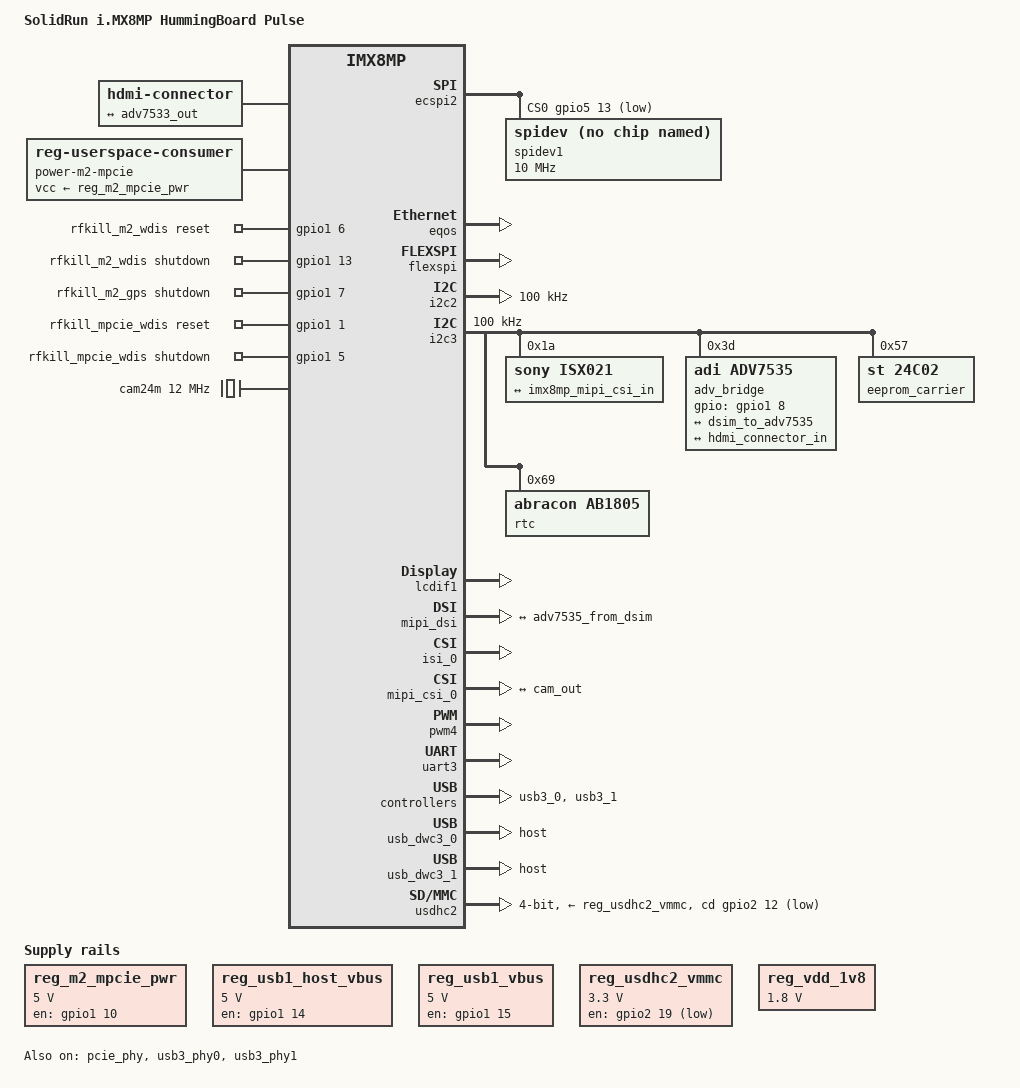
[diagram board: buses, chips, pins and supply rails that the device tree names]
// SPDX-License-Identifier: (GPL-2.0+ OR MIT)
/*
 * Copyright 2019 NXP
 */

/dts-v1/;

#include <dt-bindings/usb/pd.h>
#include "imx8mp-sr-som.dtsi"

/ {
	model = "SolidRun i.MX8MP HummingBoard Pulse";
	compatible = "fsl,imx8mp-sr-som", "fsl,imx8mp";

	reserved-memory {
		#address-cells = <2>;
		#size-cells = <2>;
		ranges;

		linux,cma {
			compatible = "shared-dma-pool";
			reusable;
			size = <0 0x3c00000>;
			linux,cma-default;
		};
	};

	leds {
		compatible = "gpio-leds";
		pinctrl-names = "default";
		pinctrl-0 = <&pinctrl_gpio_led>;

		/*status {
			label = "status";
			gpios = <&gpio4 22 0>;
			default-state = "on";
		};*/
	};

	hdmi-connector {
		compatible = "hdmi-connector";
		label = "hdmi";
		type = "a";

		port {
			hdmi_connector_in: endpoint {
				remote-endpoint = <&adv7533_out>;
			};
		};
	};

	power-m2-mpcie {
			compatible = "reg-userspace-consumer";
			regulator-name = "m2-mpcie-pwr-consumer";
			regulator-boot-on;
			regulator-supplies = "vcc";
			vcc-supply = <&reg_m2_mpcie_pwr>;
			comment = "m.2 and mpcie 3.3V connector switch";
	};

	reg_m2_mpcie_pwr: regulator-m2-mpcie-pwr {
		compatible = "regulator-fixed";
		regulator-name = "m2-mpcie-pwr";
		pinctrl-names = "default";
		pinctrl-0 = <&pinctrl_m2_pwr>;
		regulator-min-microvolt = <5000000>;
		regulator-max-microvolt = <5000000>;
		gpio = <&gpio1 10 GPIO_ACTIVE_HIGH>;
		enable-active-high;
	};

	reg_usb1_host_vbus: regulator-usb1-host-vbus {
		compatible = "regulator-fixed";
		regulator-name = "usb1_host_vbus";
		pinctrl-names = "default";
		pinctrl-0 = <&pinctrl_usb1_host_vbus>;
		regulator-min-microvolt = <5000000>;
		regulator-max-microvolt = <5000000>;
		gpio = <&gpio1 14 GPIO_ACTIVE_HIGH>;
		enable-active-high;
		regulator-always-on;
	};

	reg_usb1_vbus: regulator-usb1-vbus {
		compatible = "regulator-fixed";
		regulator-name = "usb1_vbus";
		pinctrl-names = "default";
		pinctrl-0 = <&pinctrl_usb1_vbus>;
		regulator-min-microvolt = <5000000>;
		regulator-max-microvolt = <5000000>;
		gpio = <&gpio1 15 GPIO_ACTIVE_HIGH>;
		enable-active-high;
		regulator-always-on;
	};

	reg_usdhc2_vmmc: regulator-usdhc2 {
		compatible = "regulator-fixed";
		pinctrl-names = "default";
		pinctrl-0 = <&pinctrl_reg_usdhc2_vmmc>;
		regulator-name = "VSD_3V3";
		regulator-min-microvolt = <3300000>;
		regulator-max-microvolt = <3300000>;
		gpio = <&gpio2 19 GPIO_ACTIVE_LOW>;
		regulator-always-on;
	};

	reg_vdd_1v8: regulator-vdd-1v8 {
		compatible = "regulator-fixed";
		regulator-name = "VDD_1V8";
                vdd-3v3-supply = <&buck4>;
		regulator-min-microvolt = <1800000>;
		regulator-max-microvolt = <1800000>;
		regulator-always-on;
	};

	rfkill_m2_wdis {
		compatible = "rfkill-gpio";
		pinctrl-names = "default";
		pinctrl-0 = <&pinctrl_m2_rfkill>;
		rfkill-name = "m2_wdis";
		rfkill-type = <5>;
		reset-gpio = <&gpio1 6 GPIO_ACTIVE_HIGH>;
		shutdown-gpio = <&gpio1 13 GPIO_ACTIVE_HIGH>;
		status = "okay";
	};

	rfkill_m2_gps {
		compatible = "rfkill-gpio";
		pinctrl-names = "default";
		pinctrl-0 = <&pinctrl_m2_gps_rfkill>;
		rfkill-name = "m2_gps";
		rfkill-type = <6>;
		shutdown-gpio = <&gpio1 7 GPIO_ACTIVE_HIGH>;
		status = "okay";
	};

	rfkill_mpcie_wdis {
		compatible = "rfkill-gpio";
		pinctrl-names = "default";
		pinctrl-0 = <&pinctrl_mpcie_rfkill>;
		rfkill-name = "mpcie_wdis";
		rfkill-type = <5>;
		reset-gpio = <&gpio1 1 GPIO_ACTIVE_HIGH>;
		shutdown-gpio = <&gpio1 5 GPIO_ACTIVE_HIGH>;
		status = "okay";
	};

	cam24m: cam24m {
		compatible = "fixed-clock";
		#clock-cells = <0>;
		clock-frequency = <12000000>;
		clock-output-names = "cam24m";
	};
};

&ecspi2 {
	#address-cells = <1>;
	#size-cells = <0>;
	fsl,spi-num-chipselects = <1>;
	pinctrl-names = "default";
	pinctrl-0 = <&pinctrl_ecspi2 &pinctrl_ecspi2_cs>;
	cs-gpios = <&gpio5 13 GPIO_ACTIVE_LOW>;
	status = "okay";

	spidev1: spi@0 {
		reg = <0>;
		compatible = "linux,spidev";
		spi-max-frequency = <10000000>;
	};
};

/*eth0*/
&eqos {
	status = "okay";
};

&flexspi {
	pinctrl-names = "default";
	pinctrl-0 = <&pinctrl_flexspi0>;
	status = "okay";
};

&i2c2 {
	clock-frequency = <100000>;
	pinctrl-names = "default";
	pinctrl-0 = <&pinctrl_i2c2>;
	status = "okay";
};

&i2c3 {
	clock-frequency = <100000>;
	pinctrl-names = "default";
	pinctrl-0 = <&pinctrl_i2c3>;
	status = "okay";
#if 0
	imx219: sensor@10 {
		compatible = "sony,imx219";
		reg = <0x10>;
		clocks = <&cam24m>;

		port {
			cam_out: endpoint {
				remote-endpoint = <&imx8mp_mipi_csi_in>;
				clock-lanes = <0>;
				data-lanes = <1 2>;
				clock-noncontinuous;
				link-frequencies = /bits/ 64 <456000000>;
			};
		};
	};
#endif
#if 1
	isx021: sensor@1a {
		compatible = "sony,isx021";
		reg = <0x1a>;
		clocks = <&cam24m>;
		clock-names = "xclk";

		port {
			cam_out: endpoint {
				remote-endpoint = <&imx8mp_mipi_csi_in>;
				clock-lanes = <0>;
				data-lanes = <1 2 3 4>;
				link-frequencies = /bits/ 64 <750000000>;
			};
		};
	};
#endif
	adv_bridge: adv7535@3d {
		compatible = "adi,adv7535";
		reg = <0x3d>, <0x3c>, <0x3e>, <0x3f>;
		reg-names = "main", "cec", "edid", "packet";
		adi,dsi-lanes = <4>;
		adi,input-depth = <8>;
		adi,input-colorspace = "rgb";
		adi,input-clock = "1x";
		adi,input-style = <1>;
		adi,input-justification = "evenly";
		pinctrl-names = "default";
		pinctrl-0 = <&pinctrl_mipi_dsi_en>;
		gpio = <&gpio1 8 GPIO_ACTIVE_HIGH>;
		status = "okay";

		ports {
			#address-cells = <1>;
			#size-cells = <0>;
				port@0 {
					reg = <0>;
					adv7535_from_dsim: endpoint {
						remote-endpoint = <&dsim_to_adv7535>;
					};
				};

				port@1 {
					reg = <1>;
					adv7533_out: endpoint {
						remote-endpoint = <&hdmi_connector_in>;
					};
			};
		};
	};

	eeprom_carrier: eeprom@57 {
		compatible = "st,24c02", "atmel,24c02";
		reg = <0x57>;
		pagesize = <8>;
	};

	rtc: rtc@69 {
		compatible = "abracon,ab1805";
		reg = <0x69>;
		abracon,tc-diode = "schottky";
		abracon,tc-resistor = <3>;
	};
};

/*micro HDMI*/
&lcdif1 {
	status = "okay";
};

&mipi_dsi {
	samsung,esc-clock-frequency = <10000000>;
	status = "okay";

	ports {
		port@1 {
			reg = <1>;
			dsim_to_adv7535: endpoint {
				remote-endpoint = <&adv7535_from_dsim>;
				data-lanes = <1 2 3 4>;
			};
		};
	};
};

&isi_0 {
	status = "okay";
};

&mipi_csi_0 {
	status = "okay";
	ports {
		port@0 {
			reg = <0>;
			imx8mp_mipi_csi_in: endpoint {
				remote-endpoint = <&cam_out>;
				data-lanes = <1 2 3 4>;
			};
		};
	};
};

&pcie_phy{
	ext_osc = <0>;
	status = "okay";
};

&pwm4 {
	pinctrl-names = "default";
	pinctrl-0 = <&pinctrl_pwm4>;
	status = "okay";
};

&sdma2 {
        status = "okay";
};

&uart3 {
	pinctrl-names = "default";
	pinctrl-0 = <&pinctrl_uart3>;
	assigned-clocks = <&clk IMX8MP_CLK_UART3>;
	assigned-clock-parents = <&clk IMX8MP_SYS_PLL1_80M>;
	fsl,uart-has-rtscts;
	status = "okay";
};

&usb3_phy0 {
	fsl,phy-tx-preemp-amp-tune = <2>;
	status = "okay";
};

&usb3_0 {
	status = "okay";
};

&usb_dwc3_0 {
	dr_mode = "host";
	status = "okay";
};

&usb3_phy1 {
	fsl,phy-tx-preemp-amp-tune = <2>;
	status = "okay";
};

&usb3_1 {
	status = "okay";
};

&usb_dwc3_1 {
	dr_mode = "host";
	snps,parkmode-disable-ss-quirk;
	status = "okay";
};

&usdhc2 {
	assigned-clocks = <&clk IMX8MP_CLK_USDHC2>;
	assigned-clock-rates = <400000000>;
	pinctrl-names = "default", "state_100mhz", "state_200mhz";
	pinctrl-0 = <&pinctrl_usdhc2>, <&pinctrl_usdhc2_gpio>;
	pinctrl-1 = <&pinctrl_usdhc2_100mhz>, <&pinctrl_usdhc2_gpio>;
	pinctrl-2 = <&pinctrl_usdhc2_200mhz>, <&pinctrl_usdhc2_gpio>;
	cd-gpios = <&gpio2 12 GPIO_ACTIVE_LOW>;
	vmmc-supply = <&reg_usdhc2_vmmc>;
	voltage-ranges = <1800 1800 3300 3300>;
	bus-width = <4>;
	status = "okay";
};

&iomuxc {
	pinctrl-names = "default";
	pinctrl-0 = <&pinctrl_hog>;

	pinctrl_ecspi2: ecspi2grp {
		fsl,pins = <
			MX8MP_IOMUXC_ECSPI2_SCLK__ECSPI2_SCLK		0x82
			MX8MP_IOMUXC_ECSPI2_MOSI__ECSPI2_MOSI		0x82
			MX8MP_IOMUXC_ECSPI2_MISO__ECSPI2_MISO		0x82
		>;
	};

	pinctrl_ecspi2_cs: ecspi2cs {
		fsl,pins = <
			MX8MP_IOMUXC_ECSPI2_SS0__GPIO5_IO13		0x40000
		>;
	};

	pinctrl_gpio_led: gpioledgrp {
		fsl,pins = <
			MX8MP_IOMUXC_SAI2_RXC__GPIO4_IO22		0x19
			MX8MP_IOMUXC_SAI2_RXFS__GPIO4_IO21		0x19
			MX8MP_IOMUXC_SAI2_RXD0__GPIO4_IO23		0x19
			MX8MP_IOMUXC_SAI2_TXFS__GPIO4_IO24		0x19
			MX8MP_IOMUXC_UART4_RXD__GPIO5_IO28		0x19
		>;
	};

	pinctrl_hog: hoggrp {
		fsl,pins = <
			MX8MP_IOMUXC_HDMI_DDC_SCL__HDMIMIX_HDMI_SCL	0x400001c3
			MX8MP_IOMUXC_HDMI_DDC_SDA__HDMIMIX_HDMI_SDA	0x400001c3
			MX8MP_IOMUXC_HDMI_HPD__HDMIMIX_HDMI_HPD		0x40000019
			MX8MP_IOMUXC_HDMI_CEC__HDMIMIX_HDMI_CEC		0x40000019
		>;
	};

	pinctrl_i2c2: i2c2grp {
		fsl,pins = <
			MX8MP_IOMUXC_I2C2_SCL__I2C2_SCL			0x400001c3
			MX8MP_IOMUXC_I2C2_SDA__I2C2_SDA			0x400001c3
		>;
	};

	pinctrl_i2c3: i2c3grp {
		fsl,pins = <
			MX8MP_IOMUXC_I2C3_SCL__I2C3_SCL			0x400001c3
			MX8MP_IOMUXC_I2C3_SDA__I2C3_SDA			0x400001c3
		>;
	};

	pinctrl_flexspi0: flexspi0grp {
		fsl,pins = <
			MX8MP_IOMUXC_NAND_ALE__FLEXSPI_A_SCLK		0x1c2
			MX8MP_IOMUXC_NAND_CE0_B__FLEXSPI_A_SS0_B	0x82
			MX8MP_IOMUXC_NAND_DATA00__FLEXSPI_A_DATA00	0x82
			MX8MP_IOMUXC_NAND_DATA01__FLEXSPI_A_DATA01	0x82
			MX8MP_IOMUXC_NAND_DATA03__FLEXSPI_A_DATA03	0x82
		>;
	};

	pinctrl_m2_rfkill: m2_rfkill_grp {
		fsl,pins = <
			MX8MP_IOMUXC_GPIO1_IO06__GPIO1_IO06		0x19
			MX8MP_IOMUXC_GPIO1_IO13__GPIO1_IO13		0x19
		>;
	};

	pinctrl_m2_gps_rfkill: m2_gps_rfkill_grp {
		fsl,pins = <
			MX8MP_IOMUXC_GPIO1_IO07__GPIO1_IO07		0x19
		>;
	};

	pinctrl_m2_pwr: mp2_pwr_grp {
		fsl,pins = <
			MX8MP_IOMUXC_GPIO1_IO10__GPIO1_IO10		0x19
		>;
	};

	pinctrl_mpcie_rfkill: mpcie_rfkill_grp {
		fsl,pins = <
			MX8MP_IOMUXC_GPIO1_IO01__GPIO1_IO01		0x19
			MX8MP_IOMUXC_GPIO1_IO05__GPIO1_IO05		0x19
		>;
	};

	pinctrl_mipi_dsi_en: mipi_dsi_en {
		fsl,pins = <
			MX8MP_IOMUXC_GPIO1_IO08__GPIO1_IO08		0x16
		>;
	};

        pinctrl_pcie: pciegrp {
                fsl,pins = <
                        MX8MP_IOMUXC_SAI3_RXFS__GPIO4_IO28		0x41/*pcie reset*/
                >;
        };

	pinctrl_pdm: pdmgrp {
		fsl,pins = <
			MX8MP_IOMUXC_SAI5_RXC__AUDIOMIX_PDM_CLK			0xd6
			MX8MP_IOMUXC_SAI5_RXD0__AUDIOMIX_PDM_BIT_STREAM00	0xd6
			MX8MP_IOMUXC_SAI5_RXD1__AUDIOMIX_PDM_BIT_STREAM01	0xd6
			MX8MP_IOMUXC_SAI5_RXD2__AUDIOMIX_PDM_BIT_STREAM02	0xd6
			MX8MP_IOMUXC_SAI5_RXD3__AUDIOMIX_PDM_BIT_STREAM03	0xd6
		>;
	};

	pinctrl_pwm4: pwm4grp {
		fsl,pins = <
			MX8MP_IOMUXC_SAI5_RXFS__PWM4_OUT		0x116
		>;
	};

	pinctrl_reg_usdhc2_vmmc: regusdhc2vmmcgrp {
		fsl,pins = <
			MX8MP_IOMUXC_SD2_RESET_B__GPIO2_IO19		0x40
		>;
	};

	pinctrl_sai3: sai3grp {
		fsl,pins = <
			MX8MP_IOMUXC_SAI3_MCLK__AUDIOMIX_SAI3_MCLK	0xd6
			MX8MP_IOMUXC_SAI3_TXFS__AUDIOMIX_SAI3_TX_SYNC	0xd6
			MX8MP_IOMUXC_SAI3_TXC__AUDIOMIX_SAI3_TX_BCLK	0xd6
			MX8MP_IOMUXC_SAI3_TXD__AUDIOMIX_SAI3_TX_DATA00	0xd6
			MX8MP_IOMUXC_SAI3_RXD__AUDIOMIX_SAI3_RX_DATA00	0xd6
		>;
	};

	pinctrl_uart3: uart3grp {
		fsl,pins = <
			MX8MP_IOMUXC_ECSPI1_SCLK__UART3_DCE_RX		0x140
			MX8MP_IOMUXC_ECSPI1_MOSI__UART3_DCE_TX		0x140
			MX8MP_IOMUXC_ECSPI1_SS0__UART3_DCE_RTS		0x140
			MX8MP_IOMUXC_ECSPI1_MISO__UART3_DCE_CTS		0x140
		>;
	};

	pinctrl_usb1_host_vbus: usb1hostgrp {
		fsl,pins = <
			MX8MP_IOMUXC_GPIO1_IO14__GPIO1_IO14		0x19
		>;
	};

	pinctrl_usb1_vbus: usb1grp {
		fsl,pins = <
			MX8MP_IOMUXC_GPIO1_IO15__GPIO1_IO15		0x19
		>;
	};

	pinctrl_usdhc2: usdhc2grp {
		fsl,pins = <
			MX8MP_IOMUXC_SD2_CLK__USDHC2_CLK		0x190
			MX8MP_IOMUXC_SD2_CMD__USDHC2_CMD		0x1d0
			MX8MP_IOMUXC_SD2_DATA0__USDHC2_DATA0		0x1d0
			MX8MP_IOMUXC_SD2_DATA1__USDHC2_DATA1		0x1d0
			MX8MP_IOMUXC_SD2_DATA2__USDHC2_DATA2		0x1d0
			MX8MP_IOMUXC_SD2_DATA3__USDHC2_DATA3		0x1d0
			MX8MP_IOMUXC_GPIO1_IO04__USDHC2_VSELECT		0xc1
		>;
	};

	pinctrl_usdhc2_100mhz: usdhc2grp-100mhz {
		fsl,pins = <
			MX8MP_IOMUXC_SD2_CLK__USDHC2_CLK		0x194
			MX8MP_IOMUXC_SD2_CMD__USDHC2_CMD		0x1d4
			MX8MP_IOMUXC_SD2_DATA0__USDHC2_DATA0		0x1d4
			MX8MP_IOMUXC_SD2_DATA1__USDHC2_DATA1		0x1d4
			MX8MP_IOMUXC_SD2_DATA2__USDHC2_DATA2		0x1d4
			MX8MP_IOMUXC_SD2_DATA3__USDHC2_DATA3		0x1d4
			MX8MP_IOMUXC_GPIO1_IO04__USDHC2_VSELECT 	0xc1
		>;
	};

	pinctrl_usdhc2_200mhz: usdhc2grp-200mhz {
		fsl,pins = <
			MX8MP_IOMUXC_SD2_CLK__USDHC2_CLK		0x196
			MX8MP_IOMUXC_SD2_CMD__USDHC2_CMD		0x1d6
			MX8MP_IOMUXC_SD2_DATA0__USDHC2_DATA0		0x1d6
			MX8MP_IOMUXC_SD2_DATA1__USDHC2_DATA1		0x1d6
			MX8MP_IOMUXC_SD2_DATA2__USDHC2_DATA2		0x1d6
			MX8MP_IOMUXC_SD2_DATA3__USDHC2_DATA3		0x1d6
			MX8MP_IOMUXC_GPIO1_IO04__USDHC2_VSELECT 	0xc1
		>;
	};

	pinctrl_usdhc2_gpio: usdhc2grp-gpio {
		fsl,pins = <
			MX8MP_IOMUXC_SD2_CD_B__GPIO2_IO12 		0x1c4
		>;
	};
};
